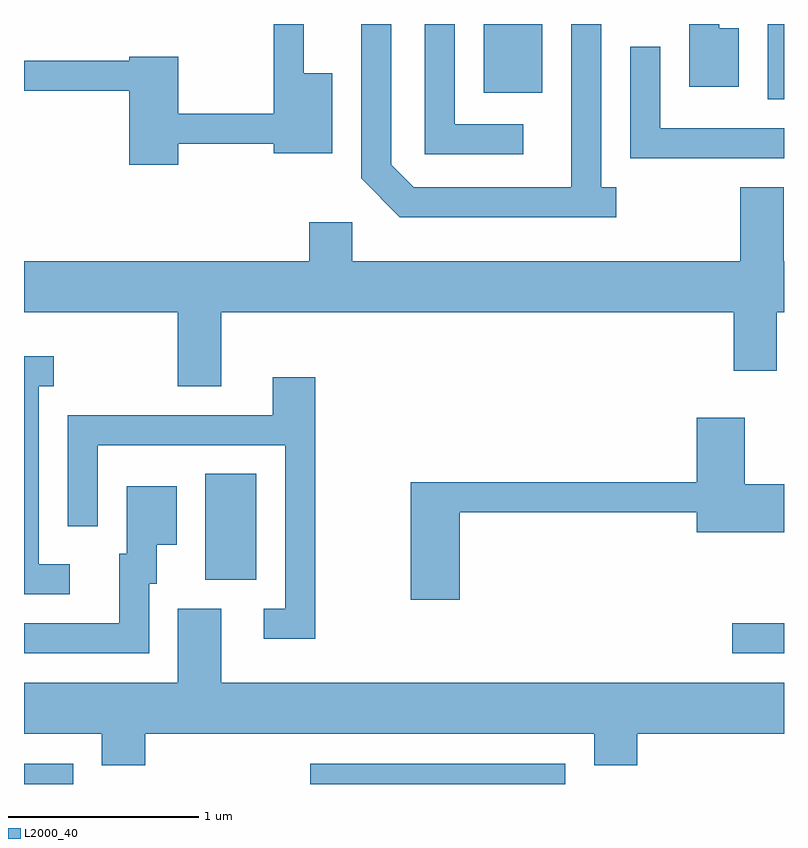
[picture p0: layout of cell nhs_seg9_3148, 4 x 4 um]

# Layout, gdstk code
import gdstk
lib = gdstk.Library(unit=1e-6, precision=1e-09)
def R(c, l, rs):  # rectangles x0, y0, x1, y1
    for r in rs: c.add(gdstk.rectangle(r[:2], r[2:], *l))
def P(c, l, *ps):  # polygons
    for p in ps: c.add(gdstk.Polygon(p, *l))
L2000_40 = (2000, 40)

nhs_seg9_3148 = lib.new_cell('nhs_seg9_3148')
R(nhs_seg9_3148, L2000_40, [(277.611,2000.432,277.869,2000.539), (279.118,2000.432,280.459,2000.539), (281.338,2001.121,281.611,2001.279), (278.566,2001.506,278.834,2002.064), (281.526,2004.036,281.611,2004.432), (280.031,2004.071,280.339,2004.432)])
P(nhs_seg9_3148, L2000_40, [(280.728,2003.574),(280.649,2003.574),(280.649,2004.432),(280.491,2004.432),(280.491,2003.574),(279.662,2003.574),(279.544,2003.692),(279.544,2004.432),(279.386,2004.432),(279.386,2003.619),(279.589,2003.416),(280.728,2003.416)],
  [(280.238,2003.904),(279.879,2003.904),(279.879,2004.432),(279.721,2004.432),(279.721,2003.746),(280.238,2003.746)],
  [(281.374,2004.409),(281.269,2004.409),(281.269,2004.432),(281.111,2004.432),(281.111,2004.101),(281.374,2004.101)],
  [(278.424,2003.801),(278.926,2003.801),(278.926,2003.751),(279.234,2003.751),(279.234,2004.174),(279.084,2004.174),(279.084,2004.432),(278.926,2004.432),(278.926,2003.959),(278.424,2003.959),(278.424,2004.259),(278.166,2004.259),(278.166,2004.239),(277.611,2004.239),(277.611,2004.081),(278.166,2004.081),(278.166,2003.691),(278.424,2003.691)],
  [(281.611,2003.884),(280.959,2003.884),(280.959,2004.313),(280.801,2004.313),(280.801,2003.726),(281.611,2003.726)],
  [(278.649,2002.916),(281.346,2002.916),(281.346,2002.606),(281.574,2002.606),(281.574,2002.916),(281.611,2002.916),(281.611,2003.184),(281.609,2003.184),(281.609,2003.574),(281.381,2003.574),(281.381,2003.184),(279.339,2003.184),(279.339,2003.389),(279.111,2003.389),(279.111,2003.184),(277.611,2003.184),(277.611,2002.916),(278.421,2002.916),(278.421,2002.526),(278.649,2002.526)],
  [(277.853,2001.589),(277.689,2001.589),(277.689,2002.526),(277.768,2002.526),(277.768,2002.684),(277.611,2002.684),(277.611,2001.431),(277.853,2001.431)],
  [(279.144,2002.574),(278.921,2002.574),(278.921,2002.374),(277.841,2002.374),(277.841,2001.788),(277.999,2001.788),(277.999,2002.216),(278.986,2002.216),(278.986,2001.354),(278.873,2001.354),(278.873,2001.196),(279.144,2001.196)],
  [(279.904,2001.861),(281.151,2001.861),(281.151,2001.756),(281.611,2001.756),(281.611,2002.009),(281.404,2002.009),(281.404,2002.359),(281.151,2002.359),(281.151,2002.019),(279.646,2002.019),(279.646,2001.401),(279.904,2001.401)],
  [(278.269,2001.486),(278.309,2001.486),(278.309,2001.691),(278.414,2001.691),(278.414,2001.999),(278.151,2001.999),(278.151,2001.644),(278.111,2001.644),(278.111,2001.279),(277.611,2001.279),(277.611,2001.121),(278.269,2001.121)],
  [(278.249,2000.696),(280.611,2000.696),(280.611,2000.531),(280.839,2000.531),(280.839,2000.696),(281.611,2000.696),(281.611,2000.964),(278.649,2000.964),(278.649,2001.354),(278.421,2001.354),(278.421,2000.964),(277.611,2000.964),(277.611,2000.696),(278.021,2000.696),(278.021,2000.531),(278.249,2000.531)])

lib.write_gds('nhs_seg9_3148.gds')
